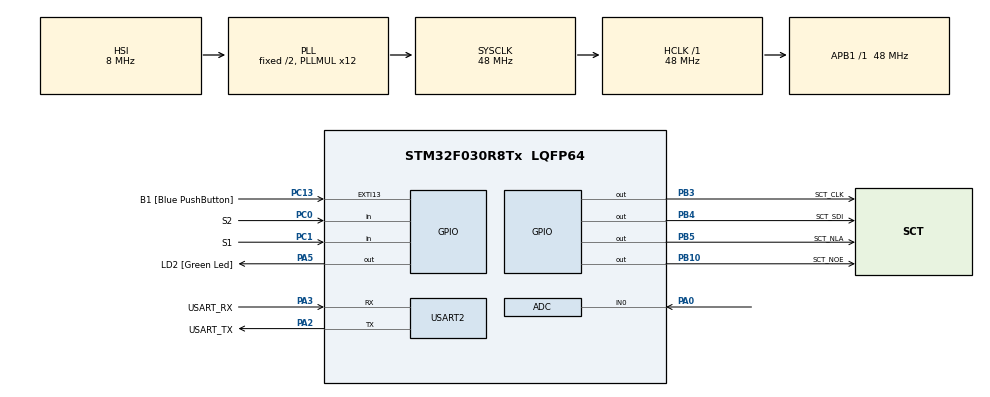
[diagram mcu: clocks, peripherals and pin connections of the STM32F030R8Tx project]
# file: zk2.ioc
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ADC.ContinuousConvMode=ENABLE
ADC.Overrun=ADC_OVR_DATA_OVERWRITTEN
ADC.SamplingTime=ADC_SAMPLETIME_239CYCLES_5
Mcu.Family=STM32F0
Mcu.Name=STM32F030R8Tx
Mcu.Package=LQFP64
NVIC.ADC1_IRQn=true\:0\:0\:false\:false\:true\:true\:true\:true
PA0.Mode=IN0
PA0.Signal=ADC_IN0
PA13.GPIO_Label=TMS
PA13.Mode=Serial_Wire
PA13.Signal=SYS_SWDIO
PA14.GPIO_Label=TCK
PA14.Mode=Serial_Wire
PA14.Signal=SYS_SWCLK
PA2.GPIO_Label=USART_TX
PA2.GPIO_Mode=GPIO_MODE_AF_PP
PA2.GPIO_PuPd=GPIO_NOPULL
PA2.GPIO_Speed=GPIO_SPEED_FREQ_LOW
PA2.Mode=Asynchronous
PA2.Signal=USART2_TX
PA3.GPIO_Label=USART_RX
PA3.GPIO_Mode=GPIO_MODE_AF_PP
PA3.GPIO_PuPd=GPIO_NOPULL
PA3.GPIO_Speed=GPIO_SPEED_FREQ_LOW
PA3.Mode=Asynchronous
PA3.Signal=USART2_RX
PA5.GPIO_Label=LD2 [Green Led]
PA5.GPIO_Mode=GPIO_MODE_OUTPUT_PP
PA5.GPIO_PuPd=GPIO_NOPULL
PA5.GPIO_Speed=GPIO_SPEED_FREQ_LOW
PA5.Signal=GPIO_Output
PB10.GPIO_Label=SCT_NOE
PB10.Signal=GPIO_Output
PB3.GPIO_Label=SCT_CLK
PB3.Signal=GPIO_Output
PB4.GPIO_Label=SCT_SDI
PB4.Signal=GPIO_Output
PB5.GPIO_Label=SCT_NLA
PB5.Signal=GPIO_Output
PC0.GPIO_Label=S2
PC0.Signal=GPIO_Input
PC1.GPIO_Label=S1
PC1.Signal=GPIO_Input
PC13.GPIO_Label=B1 [Blue PushButton]
PC13.GPIO_ModeDefaultEXTI=GPIO_MODE_IT_FALLING
PC13.Signal=GPXTI13
PC14-OSC32_IN.Mode=LSE-External-Oscillator
PC14-OSC32_IN.Signal=RCC_OSC32_IN
PC15-OSC32_OUT.Mode=LSE-External-Oscillator
PC15-OSC32_OUT.Signal=RCC_OSC32_OUT
PF0-OSC_IN.Mode=HSE-External-Clock-Source
PF0-OSC_IN.Signal=RCC_OSC_IN
PF1-OSC_OUT.Signal=RCC_OSC_OUT
ProjectManager.HeapSize=0x200
ProjectManager.StackSize=0x400
ProjectManager.TargetToolchain=STM32CubeIDE
RCC.AHBFreq_Value=48000000
RCC.APB1Freq_Value=48000000
RCC.APB1TimFreq_Value=48000000
RCC.HCLKFreq_Value=48000000
RCC.PLLMUL=RCC_PLL_MUL12
RCC.SYSCLKFreq_VALUE=48000000
RCC.SYSCLKSource=RCC_SYSCLKSOURCE_PLLCLK
USART2.VirtualMode-Asynchronous=VM_ASYNC
board=NUCLEO-F030R8

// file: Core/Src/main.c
/* USER CODE BEGIN Header */
/**
  ******************************************************************************
  * @file           : main.c
  * @brief          : Main program body
  ******************************************************************************
  * @attention
  *
  * Copyright (c) 2023 STMicroelectronics.
  * All rights reserved.
  *
  * This software is licensed under terms that can be found in the LICENSE file
  * in the root directory of this software component.
  * If no LICENSE file comes with this software, it is provided AS-IS.
  *
  ******************************************************************************
  */
/* USER CODE END Header */
#include "main.h"

/* USER CODE BEGIN Includes */
#include "sct.h"

/* USER CODE END Includes */

ADC_HandleTypeDef hadc;

UART_HandleTypeDef huart2;

void SystemClock_Config(void);
static void MX_GPIO_Init(void);
static void MX_USART2_UART_Init(void);
static void MX_ADC_Init(void);

int main(void)
{

  /* MCU Configuration--------------------------------------------------------*/

  /* Reset of all peripherals, Initializes the Flash interface and the Systick. */
  HAL_Init();

  /* Configure the system clock */
  SystemClock_Config();

  /* Initialize all configured peripherals */
  MX_GPIO_Init();
  MX_USART2_UART_Init();
  MX_ADC_Init();
  /* USER CODE BEGIN 2 */
  sct_init();
  sct_led(0x30066223);
  HAL_Delay(1000);   //zpozdeni 1s

  /* USER CODE END 2 */

  /* Infinite loop */
  while (1) {

		/* USER CODE BEGIN 3 */
	  static uint32_t lastDisplayTicks = 0;
	  static enum {SHOW_Right, SHOW_Left} state = SHOW_Right; //stavovy automat

		if (HAL_GetTick() >= lastDisplayTicks + 50) { //cteni tlacitek
			lastDisplayTicks = HAL_GetTick();

			if (!HAL_GPIO_ReadPin(GPIOC, S1_Pin)) { //tlacitkem S1 pohyb doprava
				state = SHOW_Right;
				lastDisplayTicks = HAL_GetTick();
			}

			else if (!HAL_GPIO_ReadPin(GPIOC, S2_Pin)) { //Tlacitkem S2 pohyb doleva
				state = SHOW_Left;
				lastDisplayTicks = HAL_GetTick();
			}
			switch (state) {
			case SHOW_Right:      //pohyb vpravo
				sct_led(0x20000); //1
				HAL_Delay(1000);  //zpozdeni 1s
                sct_led(0x20);    //2
				HAL_Delay(1000);
				sct_led(0x2);     //3
				HAL_Delay(1000);
				sct_led(0x1);     //4
				HAL_Delay(1000);
				sct_led(0x4000);  //5
				HAL_Delay(1000);
				sct_led(0x2000);  //6
				HAL_Delay(1000);
				sct_led(0x200);   //7
				HAL_Delay(1000);
				sct_led(0x40000); //10
				HAL_Delay(1000);

				break;

			case SHOW_Left:       //pohyb vlevo
				sct_led(0x40000); //10
				HAL_Delay(1000);
				sct_led(0x200);   //7
				HAL_Delay(1000);
				sct_led(0x2000);  //6
				HAL_Delay(1000);
				sct_led(0x4000);  //5
				HAL_Delay(1000);
				sct_led(0x1);     //4
				HAL_Delay(1000);
				sct_led(0x2);     //3
				HAL_Delay(1000);
				sct_led(0x20);    //2
				HAL_Delay(1000);
				sct_led(0x20000); //1
				HAL_Delay(1000);

				break;

			default:
				state = SHOW_Right;

			}
		}
  }
  /* USER CODE END 3 */
}

void SystemClock_Config(void)
{
  RCC_OscInitTypeDef RCC_OscInitStruct = {0};
  RCC_ClkInitTypeDef RCC_ClkInitStruct = {0};

  /** Initializes the RCC Oscillators according to the specified parameters
  * in the RCC_OscInitTypeDef structure.
  */
  RCC_OscInitStruct.OscillatorType = RCC_OSCILLATORTYPE_HSI|RCC_OSCILLATORTYPE_HSI14;
  RCC_OscInitStruct.HSIState = RCC_HSI_ON;
  RCC_OscInitStruct.HSI14State = RCC_HSI14_ON;
  RCC_OscInitStruct.HSICalibrationValue = RCC_HSICALIBRATION_DEFAULT;
  RCC_OscInitStruct.HSI14CalibrationValue = 16;
  RCC_OscInitStruct.PLL.PLLState = RCC_PLL_ON;
  RCC_OscInitStruct.PLL.PLLSource = RCC_PLLSOURCE_HSI;
  RCC_OscInitStruct.PLL.PLLMUL = RCC_PLL_MUL12;
  RCC_OscInitStruct.PLL.PREDIV = RCC_PREDIV_DIV1;
  if (HAL_RCC_OscConfig(&RCC_OscInitStruct) != HAL_OK)
  {
    Error_Handler();
  }

  /** Initializes the CPU, AHB and APB buses clocks
  */
  RCC_ClkInitStruct.ClockType = RCC_CLOCKTYPE_HCLK|RCC_CLOCKTYPE_SYSCLK
                              |RCC_CLOCKTYPE_PCLK1;
  RCC_ClkInitStruct.SYSCLKSource = RCC_SYSCLKSOURCE_PLLCLK;
  RCC_ClkInitStruct.AHBCLKDivider = RCC_SYSCLK_DIV1;
  RCC_ClkInitStruct.APB1CLKDivider = RCC_HCLK_DIV1;

  if (HAL_RCC_ClockConfig(&RCC_ClkInitStruct, FLASH_LATENCY_1) != HAL_OK)
  {
    Error_Handler();
  }
}

static void MX_ADC_Init(void)
{

  ADC_ChannelConfTypeDef sConfig = {0};

  /** Configure the global features of the ADC (Clock, Resolution, Data Alignment and number of conversion)
  */
  hadc.Instance = ADC1;
  hadc.Init.ClockPrescaler = ADC_CLOCK_ASYNC_DIV1;
  hadc.Init.Resolution = ADC_RESOLUTION_12B;
  hadc.Init.DataAlign = ADC_DATAALIGN_RIGHT;
  hadc.Init.ScanConvMode = ADC_SCAN_DIRECTION_FORWARD;
  hadc.Init.EOCSelection = ADC_EOC_SINGLE_CONV;
  hadc.Init.LowPowerAutoWait = DISABLE;
  hadc.Init.LowPowerAutoPowerOff = DISABLE;
  hadc.Init.ContinuousConvMode = ENABLE;
  hadc.Init.DiscontinuousConvMode = DISABLE;
  hadc.Init.ExternalTrigConv = ADC_SOFTWARE_START;
  hadc.Init.ExternalTrigConvEdge = ADC_EXTERNALTRIGCONVEDGE_NONE;
  hadc.Init.DMAContinuousRequests = DISABLE;
  hadc.Init.Overrun = ADC_OVR_DATA_OVERWRITTEN;
  if (HAL_ADC_Init(&hadc) != HAL_OK)
  {
    Error_Handler();
  }

  /** Configure for the selected ADC regular channel to be converted.
  */
  sConfig.Channel = ADC_CHANNEL_0;
  sConfig.Rank = ADC_RANK_CHANNEL_NUMBER;
  sConfig.SamplingTime = ADC_SAMPLETIME_239CYCLES_5;
  if (HAL_ADC_ConfigChannel(&hadc, &sConfig) != HAL_OK)
  {
    Error_Handler();
  }

}

static void MX_USART2_UART_Init(void)
{

  huart2.Instance = USART2;
  huart2.Init.BaudRate = 38400;
  huart2.Init.WordLength = UART_WORDLENGTH_8B;
  huart2.Init.StopBits = UART_STOPBITS_1;
  huart2.Init.Parity = UART_PARITY_NONE;
  huart2.Init.Mode = UART_MODE_TX_RX;
  huart2.Init.HwFlowCtl = UART_HWCONTROL_NONE;
  huart2.Init.OverSampling = UART_OVERSAMPLING_16;
  huart2.Init.OneBitSampling = UART_ONE_BIT_SAMPLE_DISABLE;
  huart2.AdvancedInit.AdvFeatureInit = UART_ADVFEATURE_NO_INIT;
  if (HAL_UART_Init(&huart2) != HAL_OK)
  {
    Error_Handler();
  }

}

static void MX_GPIO_Init(void)
{
  GPIO_InitTypeDef GPIO_InitStruct = {0};

  /* GPIO Ports Clock Enable */
  __HAL_RCC_GPIOC_CLK_ENABLE();
  __HAL_RCC_GPIOF_CLK_ENABLE();
  __HAL_RCC_GPIOA_CLK_ENABLE();
  __HAL_RCC_GPIOB_CLK_ENABLE();

  /*Configure GPIO pin Output Level */
  HAL_GPIO_WritePin(GPIOA, GPIO_PIN_5, GPIO_PIN_RESET);

  /*Configure GPIO pin Output Level */
  HAL_GPIO_WritePin(GPIOB, GPIO_PIN_10|GPIO_PIN_3|GPIO_PIN_4|GPIO_PIN_5, GPIO_PIN_RESET);

  /*Configure GPIO pin : PC13 */
  GPIO_InitStruct.Pin = GPIO_PIN_13;
  GPIO_InitStruct.Mode = GPIO_MODE_IT_FALLING;
  GPIO_InitStruct.Pull = GPIO_NOPULL;
  HAL_GPIO_Init(GPIOC, &GPIO_InitStruct);

  /*Configure GPIO pins : PC0 PC1 */
  GPIO_InitStruct.Pin = GPIO_PIN_0|GPIO_PIN_1;
  GPIO_InitStruct.Mode = GPIO_MODE_INPUT;
  GPIO_InitStruct.Pull = GPIO_NOPULL;
  HAL_GPIO_Init(GPIOC, &GPIO_InitStruct);

  /*Configure GPIO pin : PA5 */
  GPIO_InitStruct.Pin = GPIO_PIN_5;
  GPIO_InitStruct.Mode = GPIO_MODE_OUTPUT_PP;
  GPIO_InitStruct.Pull = GPIO_NOPULL;
  GPIO_InitStruct.Speed = GPIO_SPEED_FREQ_LOW;
  HAL_GPIO_Init(GPIOA, &GPIO_InitStruct);

  /*Configure GPIO pins : PB10 PB3 PB4 PB5 */
  GPIO_InitStruct.Pin = GPIO_PIN_10|GPIO_PIN_3|GPIO_PIN_4|GPIO_PIN_5;
  GPIO_InitStruct.Mode = GPIO_MODE_OUTPUT_PP;
  GPIO_InitStruct.Pull = GPIO_NOPULL;
  GPIO_InitStruct.Speed = GPIO_SPEED_FREQ_LOW;
  HAL_GPIO_Init(GPIOB, &GPIO_InitStruct);

}

void Error_Handler(void)
{
  __disable_irq();
  while (1)
  {
  }
}
